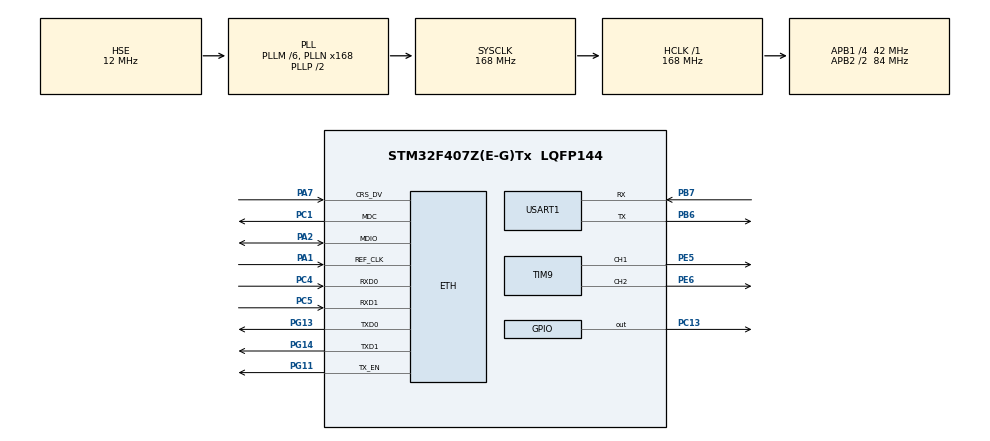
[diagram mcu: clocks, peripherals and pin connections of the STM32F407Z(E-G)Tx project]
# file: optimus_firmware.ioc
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ETH.MediaInterface=ETH_MEDIA_INTERFACE_RMII
ETH.PhyAddress=0
Mcu.Family=STM32F4
Mcu.Name=STM32F407Z(E-G)Tx
Mcu.Package=LQFP144
NVIC.PriorityGroup=NVIC_PRIORITYGROUP_4
NVIC.TIM1_UP_TIM10_IRQn=true\:15\:0\:false\:false\:true\:false\:true
NVIC.TimeBase=TIM1_UP_TIM10_IRQn
NVIC.TimeBaseIP=TIM1
PA1.Mode=RMII
PA1.Signal=ETH_REF_CLK
PA2.Mode=RMII
PA2.Signal=ETH_MDIO
PA7.Mode=RMII
PA7.Signal=ETH_CRS_DV
PB6.Mode=Asynchronous
PB6.Signal=USART1_TX
PB7.Mode=Asynchronous
PB7.Signal=USART1_RX
PC1.Mode=RMII
PC1.Signal=ETH_MDC
PC13-ANTI_TAMP.Signal=GPIO_Output
PC14-OSC32_IN.Mode=LSE-External-Oscillator
PC14-OSC32_IN.Signal=RCC_OSC32_IN
PC15-OSC32_OUT.Mode=LSE-External-Oscillator
PC15-OSC32_OUT.Signal=RCC_OSC32_OUT
PC4.Mode=RMII
PC4.Signal=ETH_RXD0
PC5.Mode=RMII
PC5.Signal=ETH_RXD1
PE5.Signal=S_TIM9_CH1
PE6.Signal=S_TIM9_CH2
PG11.Mode=RMII
PG11.Signal=ETH_TX_EN
PG13.Mode=RMII
PG13.Signal=ETH_TXD0
PG14.Mode=RMII
PG14.Signal=ETH_TXD1
PH0-OSC_IN.Mode=HSE-External-Oscillator
PH0-OSC_IN.Signal=RCC_OSC_IN
PH1-OSC_OUT.Mode=HSE-External-Oscillator
PH1-OSC_OUT.Signal=RCC_OSC_OUT
ProjectManager.HeapSize=0x200
ProjectManager.StackSize=0x400
ProjectManager.TargetToolchain=Makefile
RCC.48MHZClocksFreq_Value=84000000
RCC.AHBFreq_Value=168000000
RCC.APB1CLKDivider=RCC_HCLK_DIV4
RCC.APB1Freq_Value=42000000
RCC.APB1TimFreq_Value=84000000
RCC.APB2CLKDivider=RCC_HCLK_DIV2
RCC.APB2Freq_Value=84000000
RCC.APB2TimFreq_Value=168000000
RCC.CortexFreq_Value=168000000
RCC.HCLKFreq_Value=168000000
RCC.HSE_VALUE=12000000
RCC.HSI_VALUE=16000000
RCC.PLLM=6
RCC.PLLN=168
RCC.PLLSourceVirtual=RCC_PLLSOURCE_HSE
RCC.RCC_RTC_Clock_Source=RCC_RTCCLKSOURCE_LSE
RCC.RCC_RTC_Clock_SourceVirtual=RCC_RTCCLKSOURCE_LSE
RCC.SYSCLKFreq_VALUE=168000000
RCC.SYSCLKSource=RCC_SYSCLKSOURCE_PLLCLK
RCC.VCOOutputFreq_Value=336000000
SH.S_TIM9_CH1.0=TIM9_CH1,PWM Generation1 CH1
SH.S_TIM9_CH2.0=TIM9_CH2,PWM Generation2 CH2
TIM9.Channel-PWM\ Generation1\ CH1=TIM_CHANNEL_1
TIM9.Channel-PWM\ Generation2\ CH2=TIM_CHANNEL_2
USART1.VirtualMode=VM_ASYNC
VP_SYS_VS_tim1.Mode=TIM1
VP_TIM9_VS_ClockSourceINT.Mode=Internal
board=custom

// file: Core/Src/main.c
/* USER CODE BEGIN Header */
/**
  ******************************************************************************
  * @file           : main.c
  * @brief          : Main program body
  ******************************************************************************
  * @attention
  *
  * <h2><center>&copy; Copyright (c) 2021 STMicroelectronics.
  * All rights reserved.</center></h2>
  *
  * This software component is licensed by ST under BSD 3-Clause license,
  * the "License"; You may not use this file except in compliance with the
  * License. You may obtain a copy of the License at:
  *                        opensource.org/licenses/BSD-3-Clause
  *
  ******************************************************************************
  */
/* USER CODE END Header */
#include "main.h"

/* USER CODE BEGIN Includes */
#include "FreeRTOS.h"
#include "task.h"
#include "timers.h"
#include "semphr.h"
#include "pid.h"

/* USER CODE END Includes */

ETH_HandleTypeDef heth;

TIM_HandleTypeDef htim9;

UART_HandleTypeDef huart1;

/* USER CODE BEGIN PV */

static SemaphoreHandle_t mutex_dbg;
static SemaphoreHandle_t mutex_in1;
static SemaphoreHandle_t mutex_in2;

// Structure to strore PID data and pointer to PID structure
struct pid_controller ctrldata1;
struct pid_controller ctrldata2;
pid_t pid_controller1;
pid_t pid_controller2;

// Control loop input,output and setpoint variables
float input1 = 0, output1 = 0;
float setpoint1 = 15;
// Control loop gains
float kp1 = 2.5, ki1 = 1.0, kd1 = 1.0;

// Control loop input,output and setpoint variables
float input2 = 0, output2 = 0;
float setpoint2 = 15;
// Control loop gains
float kp2 = 2.5, ki2 = 1.0, kd2 = 1.0;

/* USER CODE END PV */

void SystemClock_Config(void);
static void MX_GPIO_Init(void);
static void MX_ETH_Init(void);
static void MX_USART1_UART_Init(void);
static void MX_TIM9_Init(void);

/* USER CODE BEGIN 0 */
void pidTask( void *pvParameters )  ////////////////////////////////////////////////////////// https://github.com/geekfactory/PID
/////////////////////////////////////// https://deepbluembedded.com/stm32-pwm-example-timer-pwm-mode-tutorial/
{
  pid_t pid_controller = (pid_t) pvParameters;
  char dbg_msg[50];

  // Set controler output limits from 0 to 200
	pid_limits(pid_controller, 0, 200);
	// Allow PID to compute and change output
	pid_auto(pid_controller);

  sprintf(dbg_msg, "Running PID Controller with ID");
  xSemaphoreTake(mutex_dbg, portMAX_DELAY);
  HAL_UART_Transmit(&huart1, dbg_msg, sizeof(char)*strlen(dbg_msg), HAL_MAX_DELAY);
  xSemaphoreGive(mutex_dbg);

  while(1)
  {
    // Read process feedback
    // input = process_input();
    // Compute new PID output value
    pid_compute(pid_controller);
    //Change actuator value
    // process_output(output);
  }
}

void vTask1( void *pvParameters )
{
  const char *pcTaskName = "Task 1";
  char buf[50];
  volatile uint32_t ul=0; /* volatile to ensure ul is not optimized away. */
  /* As per most tasks, this task is implemented in an infinite loop. */
  for( ;; )
  {
    sprintf(buf,"%s: %d \r\n",pcTaskName,ul);
    // Take the mutex
    xSemaphoreTake(mutex_dbg, portMAX_DELAY);
    /* Print out the name of this task. */
    HAL_UART_Transmit(&huart1, buf, sizeof(char)*strlen(buf), HAL_MAX_DELAY);
    // HAL_UART_Transmit_DMA(&huart1, pcTaskName, sizeof(pcTaskName)); //Non-blocking mode with DMA
    // Release the mutex
    xSemaphoreGive(mutex_dbg);
    vTaskDelay(1000);
    HAL_GPIO_TogglePin(GPIOC, GPIO_PIN_13);
    ul++;
    /* Delay for a period. */
    // for( ul = 0; ul < 1000; ul++ )
    // {
    //   /* This loop is just a very crude delay implementation. There is
    //   nothing to do in here. Later examples will replace this crude
    //   loop with a proper delay/sleep function. */
    // }
  }
}

void vTask2( void *pvParameters )
{
  const char *pcTaskName = "Task 2";
  char buf[50];
  volatile uint32_t ul=0; /* volatile to ensure ul is not optimized away. */
  /* As per most tasks, this task is implemented in an infinite loop. */
  for( ;; )
  {
    sprintf(buf,"%s: %d \r\n",pcTaskName,ul);
    // Take the mutex
    xSemaphoreTake(mutex_dbg, portMAX_DELAY);
    /* Print out the name of this task. */
    HAL_UART_Transmit(&huart1, buf, sizeof(char)*strlen(buf), HAL_MAX_DELAY);
    // HAL_UART_Transmit_DMA(&huart1, pcTaskName, sizeof(pcTaskName)); //Non-blocking mode with DMA
    // Release the mutex
    xSemaphoreGive(mutex_dbg);
    vTaskDelay(2000);
    // HAL_GPIO_TogglePin(GPIOC, GPIO_PIN_13);
    ul++;
    /* Delay for a period. */
    // for( ul = 0; ul < 500; ul++ )
    // {
    //   /* This loop is just a very crude delay implementation. There is
    //   nothing to do in here. Later examples will replace this crude
    //   loop with a proper delay/sleep function. */
    // }
  }
}
/* USER CODE END 0 */

int main(void)
{

  /* MCU Configuration--------------------------------------------------------*/

  /* Reset of all peripherals, Initializes the Flash interface and the Systick. */
  HAL_Init();

  /* Configure the system clock */
  SystemClock_Config();

  /* Initialize all configured peripherals */
  MX_GPIO_Init();
  MX_ETH_Init();
  MX_USART1_UART_Init();
  MX_TIM9_Init();
  /* USER CODE BEGIN 2 */

  /* TODO: fix Ethernet initialization */

  // Create mutex before starting tasks
  mutex_dbg = xSemaphoreCreateMutex();
  mutex_in1 = xSemaphoreCreateMutex();
  mutex_in2 = xSemaphoreCreateMutex();
  // Give the mutex
  xSemaphoreGive(mutex_dbg);
  xSemaphoreGive(mutex_in1);
  xSemaphoreGive(mutex_in2);

  char data[50] = {"Creating tasks...\r\n"};
  // uint8_t datalen = strlen(data)+48; //suma "0" en ASCII para que se imprima correctamente
  HAL_UART_Transmit(&huart1, &data, sizeof(char)*strlen(data), HAL_MAX_DELAY);

  // Create both controllers, one for each task and wheel
  pid_controller1 = pid_create(&ctrldata1, mutex_in1, &input1, &output1, &setpoint1, kp1, ki1, kd1);
  pid_controller2 = pid_create(&ctrldata2, mutex_in2, &input2, &output2, &setpoint2, kp2, ki2, kd2);

  /* Create one of the two tasks. Note that a real application should check
  the return value of the xTaskCreate() call to ensure the task was created
  successfully. */
  xTaskCreate( vTask1, /* Pointer to the function that implements the task. */
              "Task 1",/* Text name for the task. This is to facilitate
              debugging only. */
              1000, /* Stack depth - small microcontrollers will use much
              less stack than this. */
              NULL, /* This example does not use the task parameter. */
              1, /* This task will run at priority 1. */
              NULL ); /* This example does not use the task handle. */
  /* Create the other task in exactly the same way and at the same priority. */
  xTaskCreate( vTask2, "Task 2", 1000, NULL, 1, NULL );

  strcpy(data, "Starting Scheduler... \r\n");
  HAL_UART_Transmit(&huart1, &data, sizeof(char)*strlen(data), HAL_MAX_DELAY);
  /* Start the scheduler so the tasks start executing. */
  vTaskStartScheduler();

  /* If all is well then main() will never reach here as the scheduler will
  now be running the tasks. If main() does reach here then it is likely that
  there was insufficient heap memory available for the idle task to be created.
  Chapter 2 provides more information on heap memory management. */
  for( ;; );
  /* USER CODE END 2 */

  /* Infinite loop */
  while (1)
  {

  }
}

void SystemClock_Config(void)
{
  RCC_OscInitTypeDef RCC_OscInitStruct = {0};
  RCC_ClkInitTypeDef RCC_ClkInitStruct = {0};

  /** Configure the main internal regulator output voltage
  */
  __HAL_RCC_PWR_CLK_ENABLE();
  __HAL_PWR_VOLTAGESCALING_CONFIG(PWR_REGULATOR_VOLTAGE_SCALE1);
  /** Initializes the RCC Oscillators according to the specified parameters
  * in the RCC_OscInitTypeDef structure.
  */
  RCC_OscInitStruct.OscillatorType = RCC_OSCILLATORTYPE_HSE;
  RCC_OscInitStruct.HSEState = RCC_HSE_ON;
  RCC_OscInitStruct.PLL.PLLState = RCC_PLL_ON;
  RCC_OscInitStruct.PLL.PLLSource = RCC_PLLSOURCE_HSE;
  RCC_OscInitStruct.PLL.PLLM = 6;
  RCC_OscInitStruct.PLL.PLLN = 168;
  RCC_OscInitStruct.PLL.PLLP = RCC_PLLP_DIV2;
  RCC_OscInitStruct.PLL.PLLQ = 4;
  if (HAL_RCC_OscConfig(&RCC_OscInitStruct) != HAL_OK)
  {
    Error_Handler();
  }
  /** Initializes the CPU, AHB and APB buses clocks
  */
  RCC_ClkInitStruct.ClockType = RCC_CLOCKTYPE_HCLK|RCC_CLOCKTYPE_SYSCLK
                              |RCC_CLOCKTYPE_PCLK1|RCC_CLOCKTYPE_PCLK2;
  RCC_ClkInitStruct.SYSCLKSource = RCC_SYSCLKSOURCE_PLLCLK;
  RCC_ClkInitStruct.AHBCLKDivider = RCC_SYSCLK_DIV1;
  RCC_ClkInitStruct.APB1CLKDivider = RCC_HCLK_DIV4;
  RCC_ClkInitStruct.APB2CLKDivider = RCC_HCLK_DIV2;

  if (HAL_RCC_ClockConfig(&RCC_ClkInitStruct, FLASH_LATENCY_5) != HAL_OK)
  {
    Error_Handler();
  }
}

static void MX_ETH_Init(void)
{

   static uint8_t MACAddr[6];

  heth.Instance = ETH;
  heth.Init.AutoNegotiation = ETH_AUTONEGOTIATION_ENABLE;
  heth.Init.Speed = ETH_SPEED_100M;
  heth.Init.DuplexMode = ETH_MODE_FULLDUPLEX;
  heth.Init.PhyAddress = LAN8742A_PHY_ADDRESS;
  MACAddr[0] = 0x00;
  MACAddr[1] = 0x80;
  MACAddr[2] = 0xE1;
  MACAddr[3] = 0x00;
  MACAddr[4] = 0x00;
  MACAddr[5] = 0x00;
  heth.Init.MACAddr = &MACAddr[0];
  heth.Init.RxMode = ETH_RXPOLLING_MODE;
  heth.Init.ChecksumMode = ETH_CHECKSUM_BY_HARDWARE;
  heth.Init.MediaInterface = ETH_MEDIA_INTERFACE_RMII;

  if (HAL_ETH_Init(&heth) != HAL_OK)
  {
    Error_Handler();
  }

}

static void MX_TIM9_Init(void)
{

  TIM_ClockConfigTypeDef sClockSourceConfig = {0};
  TIM_OC_InitTypeDef sConfigOC = {0};

  htim9.Instance = TIM9;
  htim9.Init.Prescaler = 0;
  htim9.Init.CounterMode = TIM_COUNTERMODE_UP;
  htim9.Init.Period = 65535;
  htim9.Init.ClockDivision = TIM_CLOCKDIVISION_DIV1;
  htim9.Init.AutoReloadPreload = TIM_AUTORELOAD_PRELOAD_DISABLE;
  if (HAL_TIM_Base_Init(&htim9) != HAL_OK)
  {
    Error_Handler();
  }
  sClockSourceConfig.ClockSource = TIM_CLOCKSOURCE_INTERNAL;
  if (HAL_TIM_ConfigClockSource(&htim9, &sClockSourceConfig) != HAL_OK)
  {
    Error_Handler();
  }
  if (HAL_TIM_PWM_Init(&htim9) != HAL_OK)
  {
    Error_Handler();
  }
  sConfigOC.OCMode = TIM_OCMODE_PWM1;
  sConfigOC.Pulse = 0;
  sConfigOC.OCPolarity = TIM_OCPOLARITY_HIGH;
  sConfigOC.OCFastMode = TIM_OCFAST_DISABLE;
  if (HAL_TIM_PWM_ConfigChannel(&htim9, &sConfigOC, TIM_CHANNEL_1) != HAL_OK)
  {
    Error_Handler();
  }
  if (HAL_TIM_PWM_ConfigChannel(&htim9, &sConfigOC, TIM_CHANNEL_2) != HAL_OK)
  {
    Error_Handler();
  }
  HAL_TIM_MspPostInit(&htim9);

}

static void MX_USART1_UART_Init(void)
{

  huart1.Instance = USART1;
  huart1.Init.BaudRate = 115200;
  huart1.Init.WordLength = UART_WORDLENGTH_8B;
  huart1.Init.StopBits = UART_STOPBITS_1;
  huart1.Init.Parity = UART_PARITY_NONE;
  huart1.Init.Mode = UART_MODE_TX_RX;
  huart1.Init.HwFlowCtl = UART_HWCONTROL_NONE;
  huart1.Init.OverSampling = UART_OVERSAMPLING_16;
  if (HAL_UART_Init(&huart1) != HAL_OK)
  {
    Error_Handler();
  }

}

static void MX_GPIO_Init(void)
{
  GPIO_InitTypeDef GPIO_InitStruct = {0};

  /* GPIO Ports Clock Enable */
  __HAL_RCC_GPIOE_CLK_ENABLE();
  __HAL_RCC_GPIOC_CLK_ENABLE();
  __HAL_RCC_GPIOH_CLK_ENABLE();
  __HAL_RCC_GPIOA_CLK_ENABLE();
  __HAL_RCC_GPIOG_CLK_ENABLE();
  __HAL_RCC_GPIOB_CLK_ENABLE();

  /*Configure GPIO pin Output Level */
  HAL_GPIO_WritePin(GPIOC, GPIO_PIN_13, GPIO_PIN_RESET);

  /*Configure GPIO pin : PC13 */
  GPIO_InitStruct.Pin = GPIO_PIN_13;
  GPIO_InitStruct.Mode = GPIO_MODE_OUTPUT_PP;
  GPIO_InitStruct.Pull = GPIO_NOPULL;
  GPIO_InitStruct.Speed = GPIO_SPEED_FREQ_LOW;
  HAL_GPIO_Init(GPIOC, &GPIO_InitStruct);

}

void HAL_TIM_PeriodElapsedCallback(TIM_HandleTypeDef *htim)
{
  if (htim->Instance == TIM1) {
    HAL_IncTick();
  }
}

void Error_Handler(void)
{
  __disable_irq();
  while (1)
  {
  }
}

/************************ (C) COPYRIGHT STMicroelectronics *****END OF FILE****/
